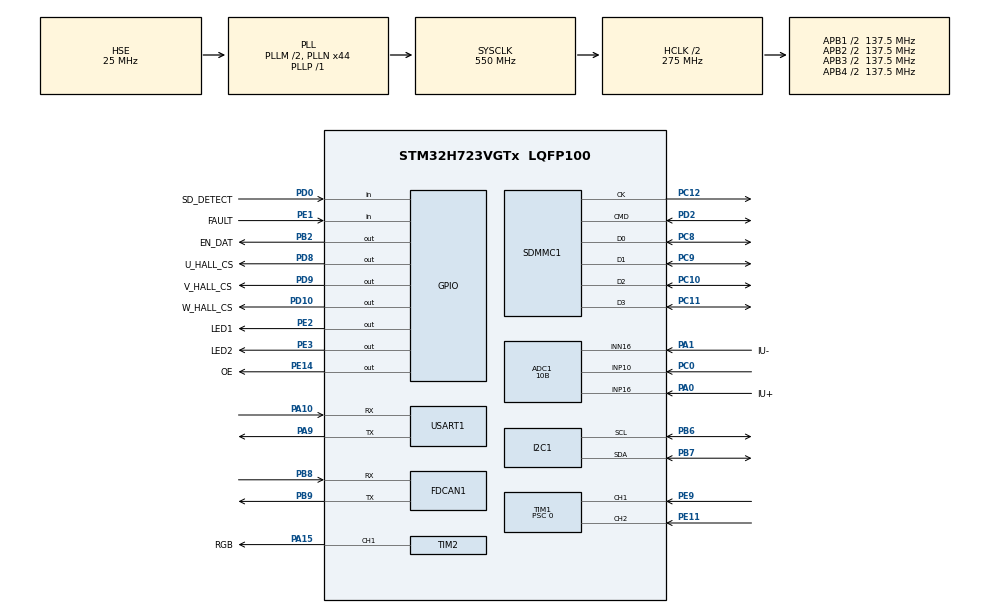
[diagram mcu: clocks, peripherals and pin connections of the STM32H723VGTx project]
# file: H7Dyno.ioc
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ADC1.Channel-7\#ChannelRegularConversion=ADC_CHANNEL_10
ADC1.ClockPrescaler=ADC_CLOCK_ASYNC_DIV32
ADC1.ContinuousConvMode=ENABLE
ADC1.ConversionDataManagement=ADC_CONVERSIONDATA_DMA_CIRCULAR
ADC1.DiscontinuousConvMode=DISABLE
ADC1.EOCSelection=ADC_EOC_SINGLE_CONV
ADC1.EnableInjectedConversion=DISABLE
ADC1.EnableRegularConversion=ENABLE
ADC1.NbrOfConversionFlag=1
ADC1.OffsetNumber-7\#ChannelRegularConversion=ADC_OFFSET_NONE
ADC1.Overrun=ADC_OVR_DATA_OVERWRITTEN
ADC1.OversamplingMode=DISABLE
ADC1.Rank-7\#ChannelRegularConversion=1
ADC1.Ratio=1
ADC1.Resolution=ADC_RESOLUTION_10B
ADC1.SamplingTime-7\#ChannelRegularConversion=ADC_SAMPLETIME_8CYCLES_5
ADC1.master=1
CORTEX_M7.default_mode_Activation=1
Dma.ADC1.1.Direction=DMA_PERIPH_TO_MEMORY
Dma.ADC1.1.EventEnable=DISABLE
Dma.ADC1.1.FIFOMode=DMA_FIFOMODE_DISABLE
Dma.ADC1.1.Instance=DMA2_Stream0
Dma.ADC1.1.MemDataAlignment=DMA_MDATAALIGN_WORD
Dma.ADC1.1.MemInc=DMA_MINC_ENABLE
Dma.ADC1.1.Mode=DMA_CIRCULAR
Dma.ADC1.1.PeriphDataAlignment=DMA_PDATAALIGN_WORD
Dma.ADC1.1.PeriphInc=DMA_PINC_DISABLE
Dma.ADC1.1.Polarity=HAL_DMAMUX_REQ_GEN_RISING
Dma.ADC1.1.Priority=DMA_PRIORITY_HIGH
Dma.ADC1.1.RequestNumber=1
Dma.ADC1.1.SignalID=NONE
Dma.ADC1.1.SyncEnable=DISABLE
Dma.ADC1.1.SyncPolarity=HAL_DMAMUX_SYNC_NO_EVENT
Dma.ADC1.1.SyncRequestNumber=1
Dma.ADC1.1.SyncSignalID=NONE
Dma.Request0=USART1_TX
Dma.Request1=ADC1
Dma.USART1_TX.0.Direction=DMA_MEMORY_TO_PERIPH
Dma.USART1_TX.0.EventEnable=DISABLE
Dma.USART1_TX.0.FIFOMode=DMA_FIFOMODE_DISABLE
Dma.USART1_TX.0.Instance=DMA1_Stream0
Dma.USART1_TX.0.MemDataAlignment=DMA_MDATAALIGN_BYTE
Dma.USART1_TX.0.MemInc=DMA_MINC_ENABLE
Dma.USART1_TX.0.Mode=DMA_NORMAL
Dma.USART1_TX.0.PeriphDataAlignment=DMA_PDATAALIGN_BYTE
Dma.USART1_TX.0.PeriphInc=DMA_PINC_DISABLE
Dma.USART1_TX.0.Polarity=HAL_DMAMUX_REQ_GEN_RISING
Dma.USART1_TX.0.Priority=DMA_PRIORITY_HIGH
Dma.USART1_TX.0.RequestNumber=1
Dma.USART1_TX.0.SignalID=NONE
Dma.USART1_TX.0.SyncEnable=DISABLE
Dma.USART1_TX.0.SyncPolarity=HAL_DMAMUX_SYNC_NO_EVENT
Dma.USART1_TX.0.SyncRequestNumber=1
Dma.USART1_TX.0.SyncSignalID=NONE
FDCAN1.CalculateBaudRateNominal=500000
FDCAN1.CalculateTimeBitNominal=2000
FDCAN1.CalculateTimeQuantumNominal=125.0
FDCAN1.Mode=FDCAN_MODE_NORMAL
FDCAN1.NominalPrescaler=6
FDCAN1.NominalTimeSeg1=13
FDCAN1.NominalTimeSeg2=2
FDCAN1.RxBufferSize=FDCAN_DATA_BYTES_8
FDCAN1.RxBuffersNbr=0
FDCAN1.RxFifo0ElmtSize=FDCAN_DATA_BYTES_8
FDCAN1.RxFifo0ElmtsNbr=31
FDCAN1.RxFifo1ElmtSize=FDCAN_DATA_BYTES_8
FDCAN1.RxFifo1ElmtsNbr=0
FDCAN1.StdFiltersNbr=1
FDCAN1.TxBuffersNbr=31
FDCAN1.TxElmtSize=FDCAN_DATA_BYTES_8
FDCAN1.TxEventsNbr=0
FDCAN1.TxFifoQueueElmtsNbr=1
FDCAN1.TxFifoQueueMode=FDCAN_TX_FIFO_OPERATION
I2C1.Timing=0x60404E72
Mcu.Family=STM32H7
Mcu.Name=STM32H723VGTx
Mcu.Package=LQFP100
NVIC.ADC_IRQn=true\:0\:0\:false\:false\:true\:true\:true\:true
NVIC.DMA1_Stream0_IRQn=true\:0\:0\:false\:false\:true\:true\:true\:true
NVIC.PriorityGroup=NVIC_PRIORITYGROUP_4
NVIC.USART1_IRQn=true\:0\:0\:false\:false\:true\:true\:true\:true
PA0.GPIO_Label=IU+
PA0.Mode=IN16-Differential
PA0.Signal=ADC1_INP16
PA1.GPIO_Label=IU-
PA1.Mode=IN16-Differential
PA1.Signal=ADC1_INN16
PA10.Mode=Asynchronous
PA10.Signal=USART1_RX
PA13(JTMS/SWDIO).Mode=Trace_Asynchronous_SW
PA13(JTMS/SWDIO).Signal=DEBUG_JTMS-SWDIO
PA14(JTCK/SWCLK).Mode=Trace_Asynchronous_SW
PA14(JTCK/SWCLK).Signal=DEBUG_JTCK-SWCLK
PA15(JTDI).GPIO_Label=RGB
PA15(JTDI).Signal=S_TIM2_CH1_ETR
PA9.Mode=Asynchronous
PA9.Signal=USART1_TX
PB13.GPIO_Speed=GPIO_SPEED_FREQ_VERY_HIGH
PB13.Signal=SPI2_SCK
PB14.GPIO_Speed=GPIO_SPEED_FREQ_VERY_HIGH
PB14.Signal=SPI2_MISO
PB2.GPIO_Label=EN_DAT
PB2.Signal=GPIO_Output
PB3(JTDO/TRACESWO).Mode=Trace_Asynchronous_SW
PB3(JTDO/TRACESWO).Signal=DEBUG_JTDO-SWO
PB6.Mode=I2C
PB6.Signal=I2C1_SCL
PB7.Mode=I2C
PB7.Signal=I2C1_SDA
PB8.GPIO_PuPd=GPIO_PULLUP
PB8.Mode=FDCAN_Activate
PB8.Signal=FDCAN1_RX
PB9.Mode=FDCAN_Activate
PB9.Signal=FDCAN1_TX
PC0.Signal=ADCx_INP10
PC10.Mode=SD_4_bits_Wide_bus
PC10.Signal=SDMMC1_D2
PC11.Mode=SD_4_bits_Wide_bus
PC11.Signal=SDMMC1_D3
PC12.Mode=SD_4_bits_Wide_bus
PC12.Signal=SDMMC1_CK
PC8.Mode=SD_4_bits_Wide_bus
PC8.Signal=SDMMC1_D0
PC9.Mode=SD_4_bits_Wide_bus
PC9.Signal=SDMMC1_D1
PD0.GPIO_Label=SD_DETECT
PD0.Signal=GPIO_Input
PD10.GPIO_Label=W_HALL_CS
PD10.PinState=GPIO_PIN_SET
PD10.Signal=GPIO_Output
PD2.Mode=SD_4_bits_Wide_bus
PD2.Signal=SDMMC1_CMD
PD8.GPIO_Label=U_HALL_CS
PD8.PinState=GPIO_PIN_SET
PD8.Signal=GPIO_Output
PD9.GPIO_Label=V_HALL_CS
PD9.PinState=GPIO_PIN_SET
PD9.Signal=GPIO_Output
PE1.GPIO_Label=FAULT
PE1.Signal=GPIO_Input
PE11.Signal=S_TIM1_CH2
PE14.GPIO_Label=OE
PE14.Signal=GPIO_Output
PE2.GPIO_Label=LED1
PE2.Signal=GPIO_Output
PE3.GPIO_Label=LED2
PE3.Signal=GPIO_Output
PE9.Signal=S_TIM1_CH1
PH0-OSC_IN.Mode=HSE-External-Oscillator
PH0-OSC_IN.Signal=RCC_OSC_IN
PH1-OSC_OUT.Mode=HSE-External-Oscillator
PH1-OSC_OUT.Signal=RCC_OSC_OUT
ProjectManager.HeapSize=0x400
ProjectManager.StackSize=0x800
ProjectManager.TargetToolchain=STM32CubeIDE
RCC.ADCCLockSelection=RCC_ADCCLKSOURCE_PLL3
RCC.ADCFreq_Value=150000000
RCC.APB1Freq_Value=137500000
RCC.APB2Freq_Value=137500000
RCC.APB3Freq_Value=137500000
RCC.APB4Freq_Value=137500000
RCC.CodegenConfigPeriph=true
RCC.CortexFreq_Value=550000000
RCC.D1PPRE=RCC_APB3_DIV2
RCC.D2PPRE1=RCC_APB1_DIV2
RCC.D2PPRE2=RCC_APB2_DIV2
RCC.D3PPRE=RCC_APB4_DIV2
RCC.DATA_CACHE_ENABLE=1
RCC.DIVM1=2
RCC.DIVM2=5
RCC.DIVM3=2
RCC.DIVN1=44
RCC.DIVN2=96
RCC.DIVN3=24
RCC.DIVP1=1
RCC.DIVQ1=4
RCC.DIVQ2=10
RCC.DIVR1=1
RCC.DIVR2=1
RCC.FDCANCLockSelection=RCC_FDCANCLKSOURCE_PLL2
RCC.HCLKFreq_Value=275000000
RCC.HPRE=RCC_HCLK_DIV2
RCC.INSTRUCTION_CACHE_ENABLE=1
RCC.LSE_Drive_CapabilityArg=+LSE_Drive_Capability
RCC.PLL2FRACN=0
RCC.PLL3FRACN=0
RCC.PLL3_VCI_Range-AdvancedSettings=RCC_PLL3VCIRANGE_3
RCC.PLL3_VCO_SEL-AdvancedSettings=RCC_PLL3VCOWIDE
RCC.PLLFRACN=0
RCC.PLLSourceVirtual=RCC_PLLSOURCE_HSE
RCC.PREFETCH_ENABLE=0
RCC.SYSCLKFreq_VALUE=550000000
RCC.SYSCLKSource=RCC_SYSCLKSOURCE_PLLCLK
RCC.USBFreq_Value=137500000
SH.ADCx_INP10.0=ADC1_INP10,IN10-Single-Ended
SH.S_TIM1_CH1.0=TIM1_CH1,Input_Capture1_from_TI1
SH.S_TIM1_CH2.0=TIM1_CH2,Input_Capture2_from_TI2
SH.S_TIM2_CH1_ETR.0=TIM2_CH1,PWM Generation1 CH1
TIM1.Channel-Input_Capture1_from_TI1=TIM_CHANNEL_1
TIM1.Channel-Input_Capture2_from_TI2=TIM_CHANNEL_2
TIM1.Prescaler=0
TIM16.Prescaler=275-1
TIM2.Channel-PWM\ Generation1\ CH1=TIM_CHANNEL_1
USART1.VirtualMode-Asynchronous=VM_ASYNC
VP_CORDIC_VS_CORDIC.Mode=CORDIC_Activate
VP_MEMORYMAP_VS_MEMORYMAP.Mode=CurAppReg
VP_TIM16_VS_ClockSourceINT.Mode=Enable_Timer
board=custom

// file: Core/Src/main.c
/* USER CODE BEGIN Header */
/**
  ******************************************************************************
  * @file           : main.c
  * @brief          : Main program body
  ******************************************************************************
  * @attention
  *
  * Copyright (c) 2025 STMicroelectronics.
  * All rights reserved.
  *
  * This software is licensed under terms that can be found in the LICENSE file
  * in the root directory of this software component.
  * If no LICENSE file comes with this software, it is provided AS-IS.
  *
  ******************************************************************************
  */
/* USER CODE END Header */
#include "main.h"

/* USER CODE BEGIN Includes */
#include <string.h>
#include <stdio.h>
#include "adc.h"
#include "main.h"
#include "appMath.h"
#include "math.h"
#include "can.h"
#include "accel.h"
#include "define.h"
#include "inverter.h"

//#include "can.h"
//#include "mtpva.h"
/* USER CODE END Includes */

ADC_HandleTypeDef hadc1;
DMA_HandleTypeDef hdma_adc1;

CORDIC_HandleTypeDef hcordic;

FDCAN_HandleTypeDef hfdcan1;

I2C_HandleTypeDef hi2c1;

SD_HandleTypeDef hsd1;

TIM_HandleTypeDef htim1;
TIM_HandleTypeDef htim2;
TIM_HandleTypeDef htim16;

UART_HandleTypeDef huart1;
DMA_HandleTypeDef hdma_usart1_tx;

/* USER CODE BEGIN PV */
char msg[150] = {};

FDCAN_RxHeaderTypeDef RxHeader;
uint8_t RxData[8];

float cmd = 0.0;
int swp_cnt_r = 0;
int swp_step_r = 0;
int swp_cnt_c = 0;
int swp_step_c = 0;
int swp_state = 0;

float cmdq = 0.0;
float cmdd = 0.0;

int sweep_counter =0;

uint32_t adc_value[10];
inverter_data_t inverters[4];
inverter_cmd_t cmd_0 = {
    .motor              = 3,
    .state              = 0,
    .current_in_limit_p = 20.0f,
    .current_in_limit_n = 20.0f,
    .current_out_limit_d = 20.0f,
    .current_out_limit_q = 20.0f,
    .command            = 0,
};

/* USER CODE END PV */

void SystemClock_Config(void);
static void MPU_Config(void);
static void MX_GPIO_Init(void);
static void MX_DMA_Init(void);
static void MX_ADC1_Init(void);
static void MX_CORDIC_Init(void);
static void MX_FDCAN1_Init(void);
static void MX_I2C1_Init(void);
static void MX_TIM1_Init(void);
static void MX_TIM16_Init(void);
static void MX_USART1_UART_Init(void);
static void MX_TIM2_Init(void);
static void MX_SDMMC1_SD_Init(void);
/* USER CODE BEGIN PFP */
uint8_t FinalData[20] = {'h','\n'};
uint8_t uart_RxData[20];
uint8_t temp[2];
int indx = 0;
/* USER CODE END PFP */

/* USER CODE BEGIN 0 */

float hbk_freq;

void HAL_ADC_ConvCpltCallback(ADC_HandleTypeDef *hadc){
	HAL_GPIO_TogglePin(LED1_GPIO_Port, LED1_Pin);
	HAL_GPIO_TogglePin(LED2_GPIO_Port, LED2_Pin);

}

void HAL_UART_RxCpltCallback(UART_HandleTypeDef *huart)
{
	memcpy(uart_RxData+indx, temp, 1);
	if (++indx >= 20) indx = 0;
	HAL_UART_Receive_IT(&huart1, temp, 1);
}

uint8_t dma_buf[128];
uint8_t vcu_i2d = 0;
uint8_t vcu_d2i = 0;
uint8_t vcu_flt = 0;
uint8_t vcu_rst = 0;
uint8_t vcu_rsth = 0;

/* USER CODE END 0 */

int main(void)
{

  /* MPU Configuration--------------------------------------------------------*/
  MPU_Config();

  /* MCU Configuration--------------------------------------------------------*/

  /* Reset of all peripherals, Initializes the Flash interface and the Systick. */
  HAL_Init();

  /* Configure the system clock */
  SystemClock_Config();

  /* Initialize all configured peripherals */
  MX_GPIO_Init();
  MX_DMA_Init();
  MX_ADC1_Init();
  MX_CORDIC_Init();
  MX_FDCAN1_Init();
  MX_I2C1_Init();
  MX_TIM1_Init();
  MX_TIM16_Init();
  MX_USART1_UART_Init();
  MX_TIM2_Init();
  MX_SDMMC1_SD_Init();
  /* USER CODE BEGIN 2 */
  DISABLE_OUT;
  can_init();

  HAL_TIM_IC_Init(&htim1);
  HAL_TIM_IC_Start(&htim1,TIM_CHANNEL_1);

  HAL_ADC_Start_DMA(&hadc1, adc_value, 10);

  /* USER CODE END 2 */

  /* Infinite loop */
  /* USER CODE BEGIN WHILE */

  HAL_UART_Receive_IT(&huart1, temp, 1);

  while (1)
  {
	if (temp[0] == ']')
	{
		temp[0] = 0;
		cmd_0.state = 0;
		memcpy (FinalData, uart_RxData, indx);
		memset(uart_RxData, 0, sizeof(uart_RxData));
		indx = 0;

		if(strcmp((char*)FinalData,"[flt]")==0){
			HAL_UART_Transmit_DMA(&huart1,(uint8_t*)("\n [flt] \n\n"),10);
			cmd_0.state ^= VCU_STATE_FAULT;
		}
		if(strcmp((char*)FinalData,"[i2d]")==0){
			HAL_UART_Transmit_DMA(&huart1,(uint8_t*)("\n [i2d] \n\n"),10);
			cmd_0.state ^= VCU_STATE_IDLE2DRIVE;
		}
		if(strcmp((char*)FinalData,"[d2i]")==0){
			HAL_UART_Transmit_DMA(&huart1,(uint8_t*)("\n [d2i] \n\n"),10);
			cmd_0.state ^= VCU_STATE_DRIVE2IDLE;
		}
		if(strcmp((char*)FinalData,"[rsth]")==0){
			HAL_UART_Transmit_DMA(&huart1,(uint8_t*)("\n [rsth] \n\n"),11);
			cmd_0.state ^= VCU_STATE_RESET_HARD;
		}
		if(strcmp((char*)FinalData,"[rst]")==0){
			HAL_UART_Transmit_DMA(&huart1,(uint8_t*)("\n [rst] \n\n"),10);
			cmd_0.state ^= VCU_STATE_RESET;
		}
		memset(FinalData, 0, sizeof(FinalData));

	}

	__ASM("nop");
	__ASM("nop");
	__ASM("nop");
	__ASM("nop");
	__ASM("nop");

	cmd = pollRef(adc_value);
	uint32_t tickstart = HAL_GetTick();
	uint32_t wait = 20;

	while ((HAL_GetTick() - tickstart) < wait)
	{
//		can_rx(RxData,&RxHeader);
//		vcu_decode_inverter_can(RxHeader.Identifier, RxData);
		can_process();
		HAL_Delay(1);
	}

//	can_transmit[0] = (uint8_t)v_bus;
//	HAL_Delay(100);
	uint32_t tq =0;
	float diff =0;
	uint32_t tq2 = 0;
	float torque = 0;
	tq = HAL_TIM_ReadCapturedValue(&htim1, TIM_CHANNEL_1);
	tq2 = tq;
	while(tq2 == tq){
		tq2 = HAL_TIM_ReadCapturedValue(&htim1, TIM_CHANNEL_1);
	}
	if (tq > tq2) diff = (float)((0xffff + tq2) -  tq);
	else diff = (float)(tq2-tq);
	float freq = 1/diff*(275000000.0f);

	torque = ((freq-10000.0f)*200.0f/4997.0f);

//	HAL_UART_Transmit_DMA(&huart1, (uint8_t*)FinalData, strlen(FinalData));
	HAL_UART_Transmit_DMA(&huart1, (uint8_t*)msg, strlen(msg));

	HAL_Delay(25);

	uint8_t i_n = 3;

	sprintf(msg, "s: %d,e: %d,f: %d,adc: %lu,cmd: %1.1f, vb: %3.1f, w_e: %5.1f, id:%+2.1f, iq:%+2.1f, vcu: %d, tq: %2.1f\n",
			inverters[i_n].state,
			inverters[i_n].error,
			inverters[i_n].fault,
			adc_value[0],
			(cmd-0.5),
			inverters[i_n].v_bus,
			inverters[i_n].omega_e,
			inverters[i_n].i_d,
			inverters[i_n].i_q,
			cmd_0.state,
			torque
	);

	HAL_Delay(25);

	if(cmd > 0.3 && cmd < 0.7){
		cmd = 0.5;
	}
	else if(cmd <= 0.3) cmd = cmd * 5/3;
	else if(cmd >= 0.7) cmd = ((cmd-0.7) * 5/3)+0.5;

	cmd_0.command = 2*cmd-1;
	vcu_transmit_inverter_can(&cmd_0);

/*

	if(sweep_counter++ > 10){
		sweep_counter = 0;

		if(cmd > 0.5){

			int swp_rows = 10;//starts at 0, goes +- amt
			int swp_cols = 10;//starts at 0, goes + amt
			int swp_mult = 1;

			switch(swp_state){
				case 0://increasing
					swp_step_r++;
					if(swp_step_r > swp_rows) swp_state = 1;
					break;
				case 1://decreasing
					swp_step_r--;
					if(swp_step_r < -swp_rows) swp_state = 2;
					break;
				case 2://increasing again
					swp_step_r++;
					if(swp_step_r > 0){
						swp_state = 0;
						swp_step_c ++;
						swp_step_r = 0;
						if(swp_step_c > swp_cols){
							swp_step_c = 0;
							swp_state = 3;
						}
					}
					break;
				case 3://increasing
					swp_step_r++;
					if(swp_step_r > swp_rows) swp_state = 4;
					break;
				case 4://decreasing
					swp_step_r--;
					if(swp_step_r < -swp_rows) swp_state = 5;
					break;
				case 5://increasing again
					swp_step_r++;
					if(swp_step_r > 0){
						swp_state = 3;
						swp_step_c--;
						swp_step_r = 0;
						if(swp_step_c < -swp_cols){
							swp_step_c = 0;
							swp_state = 0;
						}
					}
					break;
			}

			cmdq = swp_step_c*swp_mult;
			cmdd = swp_step_r*swp_mult;
		}
		else{
			cmdq = 0;
			cmdd = 0;
		}
	}

//	cmdq = 45;
//	cmdd = 0;

//    can_transmit[0] = (float2can((cmdd), 200, 100)>>8) & 0xFF;
//    can_transmit[1] = (float2can((cmdd), 200, 100)>>0) & 0xFF;
//    can_transmit[2] = (float2can((cmdd), 200, 100)>>8) & 0xFF;
//    can_transmit[3] = (float2can((cmdd), 200, 100)>>0) & 0xFF;
//    can_transmit[4] = 0; //
//    can_transmit[5] = 0; //
//    can_transmit[6] = 0; //
//    can_transmit[7] = 0; //

//    can_tx(can_transmit,0x12);
*/
	HAL_GPIO_WritePin(LED2_GPIO_Port, LED2_Pin, 1);
    /* USER CODE END WHILE */

  }
}

void SystemClock_Config(void)
{
  RCC_OscInitTypeDef RCC_OscInitStruct = {0};
  RCC_ClkInitTypeDef RCC_ClkInitStruct = {0};

  /** Supply configuration update enable
  */
  HAL_PWREx_ConfigSupply(PWR_LDO_SUPPLY);

  /** Configure the main internal regulator output voltage
  */
  __HAL_PWR_VOLTAGESCALING_CONFIG(PWR_REGULATOR_VOLTAGE_SCALE0);

  while(!__HAL_PWR_GET_FLAG(PWR_FLAG_VOSRDY)) {}

  /** Initializes the RCC Oscillators according to the specified parameters
  * in the RCC_OscInitTypeDef structure.
  */
  RCC_OscInitStruct.OscillatorType = RCC_OSCILLATORTYPE_HSE;
  RCC_OscInitStruct.HSEState = RCC_HSE_ON;
  RCC_OscInitStruct.PLL.PLLState = RCC_PLL_ON;
  RCC_OscInitStruct.PLL.PLLSource = RCC_PLLSOURCE_HSE;
  RCC_OscInitStruct.PLL.PLLM = 2;
  RCC_OscInitStruct.PLL.PLLN = 44;
  RCC_OscInitStruct.PLL.PLLP = 1;
  RCC_OscInitStruct.PLL.PLLQ = 4;
  RCC_OscInitStruct.PLL.PLLR = 1;
  RCC_OscInitStruct.PLL.PLLRGE = RCC_PLL1VCIRANGE_3;
  RCC_OscInitStruct.PLL.PLLVCOSEL = RCC_PLL1VCOWIDE;
  RCC_OscInitStruct.PLL.PLLFRACN = 0;
  if (HAL_RCC_OscConfig(&RCC_OscInitStruct) != HAL_OK)
  {
    Error_Handler();
  }

  /** Initializes the CPU, AHB and APB buses clocks
  */
  RCC_ClkInitStruct.ClockType = RCC_CLOCKTYPE_HCLK|RCC_CLOCKTYPE_SYSCLK
                              |RCC_CLOCKTYPE_PCLK1|RCC_CLOCKTYPE_PCLK2
                              |RCC_CLOCKTYPE_D3PCLK1|RCC_CLOCKTYPE_D1PCLK1;
  RCC_ClkInitStruct.SYSCLKSource = RCC_SYSCLKSOURCE_PLLCLK;
  RCC_ClkInitStruct.SYSCLKDivider = RCC_SYSCLK_DIV1;
  RCC_ClkInitStruct.AHBCLKDivider = RCC_HCLK_DIV2;
  RCC_ClkInitStruct.APB3CLKDivider = RCC_APB3_DIV2;
  RCC_ClkInitStruct.APB1CLKDivider = RCC_APB1_DIV2;
  RCC_ClkInitStruct.APB2CLKDivider = RCC_APB2_DIV2;
  RCC_ClkInitStruct.APB4CLKDivider = RCC_APB4_DIV2;

  if (HAL_RCC_ClockConfig(&RCC_ClkInitStruct, FLASH_LATENCY_3) != HAL_OK)
  {
    Error_Handler();
  }
}

static void MX_ADC1_Init(void)
{

  ADC_MultiModeTypeDef multimode = {0};
  ADC_ChannelConfTypeDef sConfig = {0};

  /** Common config
  */
  hadc1.Instance = ADC1;
  hadc1.Init.ClockPrescaler = ADC_CLOCK_ASYNC_DIV32;
  hadc1.Init.Resolution = ADC_RESOLUTION_10B;
  hadc1.Init.ScanConvMode = ADC_SCAN_DISABLE;
  hadc1.Init.EOCSelection = ADC_EOC_SINGLE_CONV;
  hadc1.Init.LowPowerAutoWait = DISABLE;
  hadc1.Init.ContinuousConvMode = ENABLE;
  hadc1.Init.NbrOfConversion = 1;
  hadc1.Init.DiscontinuousConvMode = DISABLE;
  hadc1.Init.ExternalTrigConv = ADC_SOFTWARE_START;
  hadc1.Init.ExternalTrigConvEdge = ADC_EXTERNALTRIGCONVEDGE_NONE;
  hadc1.Init.ConversionDataManagement = ADC_CONVERSIONDATA_DMA_CIRCULAR;
  hadc1.Init.Overrun = ADC_OVR_DATA_OVERWRITTEN;
  hadc1.Init.LeftBitShift = ADC_LEFTBITSHIFT_NONE;
  hadc1.Init.OversamplingMode = DISABLE;
  hadc1.Init.Oversampling.Ratio = 1;
  if (HAL_ADC_Init(&hadc1) != HAL_OK)
  {
    Error_Handler();
  }

  /** Configure the ADC multi-mode
  */
  multimode.Mode = ADC_MODE_INDEPENDENT;
  if (HAL_ADCEx_MultiModeConfigChannel(&hadc1, &multimode) != HAL_OK)
  {
    Error_Handler();
  }

  /** Configure Regular Channel
  */
  sConfig.Channel = ADC_CHANNEL_10;
  sConfig.Rank = ADC_REGULAR_RANK_1;
  sConfig.SamplingTime = ADC_SAMPLETIME_8CYCLES_5;
  sConfig.SingleDiff = ADC_SINGLE_ENDED;
  sConfig.OffsetNumber = ADC_OFFSET_NONE;
  sConfig.Offset = 0;
  if (HAL_ADC_ConfigChannel(&hadc1, &sConfig) != HAL_OK)
  {
    Error_Handler();
  }

}

static void MX_CORDIC_Init(void)
{

  hcordic.Instance = CORDIC;
  if (HAL_CORDIC_Init(&hcordic) != HAL_OK)
  {
    Error_Handler();
  }

}

static void MX_FDCAN1_Init(void)
{

  hfdcan1.Instance = FDCAN1;
  hfdcan1.Init.FrameFormat = FDCAN_FRAME_CLASSIC;
  hfdcan1.Init.Mode = FDCAN_MODE_NORMAL;
  hfdcan1.Init.AutoRetransmission = DISABLE;
  hfdcan1.Init.TransmitPause = DISABLE;
  hfdcan1.Init.ProtocolException = DISABLE;
  hfdcan1.Init.NominalPrescaler = 6;
  hfdcan1.Init.NominalSyncJumpWidth = 1;
  hfdcan1.Init.NominalTimeSeg1 = 13;
  hfdcan1.Init.NominalTimeSeg2 = 2;
  hfdcan1.Init.DataPrescaler = 1;
  hfdcan1.Init.DataSyncJumpWidth = 1;
  hfdcan1.Init.DataTimeSeg1 = 1;
  hfdcan1.Init.DataTimeSeg2 = 1;
  hfdcan1.Init.MessageRAMOffset = 0;
  hfdcan1.Init.StdFiltersNbr = 1;
  hfdcan1.Init.ExtFiltersNbr = 0;
  hfdcan1.Init.RxFifo0ElmtsNbr = 31;
  hfdcan1.Init.RxFifo0ElmtSize = FDCAN_DATA_BYTES_8;
  hfdcan1.Init.RxFifo1ElmtsNbr = 0;
  hfdcan1.Init.RxFifo1ElmtSize = FDCAN_DATA_BYTES_8;
  hfdcan1.Init.RxBuffersNbr = 0;
  hfdcan1.Init.RxBufferSize = FDCAN_DATA_BYTES_8;
  hfdcan1.Init.TxEventsNbr = 0;
  hfdcan1.Init.TxBuffersNbr = 31;
  hfdcan1.Init.TxFifoQueueElmtsNbr = 1;
  hfdcan1.Init.TxFifoQueueMode = FDCAN_TX_FIFO_OPERATION;
  hfdcan1.Init.TxElmtSize = FDCAN_DATA_BYTES_8;
  if (HAL_FDCAN_Init(&hfdcan1) != HAL_OK)
  {
    Error_Handler();
  }

}

static void MX_I2C1_Init(void)
{

  hi2c1.Instance = I2C1;
  hi2c1.Init.Timing = 0x60404E72;
  hi2c1.Init.OwnAddress1 = 0;
  hi2c1.Init.AddressingMode = I2C_ADDRESSINGMODE_7BIT;
  hi2c1.Init.DualAddressMode = I2C_DUALADDRESS_DISABLE;
  hi2c1.Init.OwnAddress2 = 0;
  hi2c1.Init.OwnAddress2Masks = I2C_OA2_NOMASK;
  hi2c1.Init.GeneralCallMode = I2C_GENERALCALL_DISABLE;
  hi2c1.Init.NoStretchMode = I2C_NOSTRETCH_DISABLE;
  if (HAL_I2C_Init(&hi2c1) != HAL_OK)
  {
    Error_Handler();
  }

  /** Configure Analogue filter
  */
  if (HAL_I2CEx_ConfigAnalogFilter(&hi2c1, I2C_ANALOGFILTER_ENABLE) != HAL_OK)
  {
    Error_Handler();
  }

  /** Configure Digital filter
  */
  if (HAL_I2CEx_ConfigDigitalFilter(&hi2c1, 0) != HAL_OK)
  {
    Error_Handler();
  }

}

static void MX_SDMMC1_SD_Init(void)
{

  hsd1.Instance = SDMMC1;
  hsd1.Init.ClockEdge = SDMMC_CLOCK_EDGE_RISING;
  hsd1.Init.ClockPowerSave = SDMMC_CLOCK_POWER_SAVE_DISABLE;
  hsd1.Init.BusWide = SDMMC_BUS_WIDE_4B;
  hsd1.Init.HardwareFlowControl = SDMMC_HARDWARE_FLOW_CONTROL_DISABLE;
  hsd1.Init.ClockDiv = 0;
  if (HAL_SD_Init(&hsd1) != HAL_OK)
  {
    Error_Handler();
  }

}

static void MX_TIM1_Init(void)
{

  TIM_MasterConfigTypeDef sMasterConfig = {0};
  TIM_IC_InitTypeDef sConfigIC = {0};

  htim1.Instance = TIM1;
  htim1.Init.Prescaler = 0;
  htim1.Init.CounterMode = TIM_COUNTERMODE_UP;
  htim1.Init.Period = 65535;
  htim1.Init.ClockDivision = TIM_CLOCKDIVISION_DIV1;
  htim1.Init.RepetitionCounter = 0;
  htim1.Init.AutoReloadPreload = TIM_AUTORELOAD_PRELOAD_DISABLE;
  if (HAL_TIM_IC_Init(&htim1) != HAL_OK)
  {
    Error_Handler();
  }
  sMasterConfig.MasterOutputTrigger = TIM_TRGO_RESET;
  sMasterConfig.MasterOutputTrigger2 = TIM_TRGO2_RESET;
  sMasterConfig.MasterSlaveMode = TIM_MASTERSLAVEMODE_DISABLE;
  if (HAL_TIMEx_MasterConfigSynchronization(&htim1, &sMasterConfig) != HAL_OK)
  {
    Error_Handler();
  }
  sConfigIC.ICPolarity = TIM_INPUTCHANNELPOLARITY_RISING;
  sConfigIC.ICSelection = TIM_ICSELECTION_DIRECTTI;
  sConfigIC.ICPrescaler = TIM_ICPSC_DIV1;
  sConfigIC.ICFilter = 0;
  if (HAL_TIM_IC_ConfigChannel(&htim1, &sConfigIC, TIM_CHANNEL_1) != HAL_OK)
  {
    Error_Handler();
  }
  if (HAL_TIM_IC_ConfigChannel(&htim1, &sConfigIC, TIM_CHANNEL_2) != HAL_OK)
  {
    Error_Handler();
  }

}

static void MX_TIM2_Init(void)
{

  TIM_MasterConfigTypeDef sMasterConfig = {0};
  TIM_OC_InitTypeDef sConfigOC = {0};

  htim2.Instance = TIM2;
  htim2.Init.Prescaler = 0;
  htim2.Init.CounterMode = TIM_COUNTERMODE_UP;
  htim2.Init.Period = 4294967295;
  htim2.Init.ClockDivision = TIM_CLOCKDIVISION_DIV1;
  htim2.Init.AutoReloadPreload = TIM_AUTORELOAD_PRELOAD_DISABLE;
  if (HAL_TIM_PWM_Init(&htim2) != HAL_OK)
  {
    Error_Handler();
  }
  sMasterConfig.MasterOutputTrigger = TIM_TRGO_RESET;
  sMasterConfig.MasterSlaveMode = TIM_MASTERSLAVEMODE_DISABLE;
  if (HAL_TIMEx_MasterConfigSynchronization(&htim2, &sMasterConfig) != HAL_OK)
  {
    Error_Handler();
  }
  sConfigOC.OCMode = TIM_OCMODE_PWM1;
  sConfigOC.Pulse = 0;
  sConfigOC.OCPolarity = TIM_OCPOLARITY_HIGH;
  sConfigOC.OCFastMode = TIM_OCFAST_DISABLE;
  if (HAL_TIM_PWM_ConfigChannel(&htim2, &sConfigOC, TIM_CHANNEL_1) != HAL_OK)
  {
    Error_Handler();
  }
  HAL_TIM_MspPostInit(&htim2);

}

static void MX_TIM16_Init(void)
{

  htim16.Instance = TIM16;
  htim16.Init.Prescaler = 275-1;
  htim16.Init.CounterMode = TIM_COUNTERMODE_UP;
  htim16.Init.Period = 65535;
  htim16.Init.ClockDivision = TIM_CLOCKDIVISION_DIV1;
  htim16.Init.RepetitionCounter = 0;
  htim16.Init.AutoReloadPreload = TIM_AUTORELOAD_PRELOAD_DISABLE;
  if (HAL_TIM_Base_Init(&htim16) != HAL_OK)
  {
    Error_Handler();
  }

}

static void MX_USART1_UART_Init(void)
{

  huart1.Instance = USART1;
  huart1.Init.BaudRate = 115200;
  huart1.Init.WordLength = UART_WORDLENGTH_8B;
  huart1.Init.StopBits = UART_STOPBITS_1;
  huart1.Init.Parity = UART_PARITY_NONE;
  huart1.Init.Mode = UART_MODE_TX_RX;
  huart1.Init.HwFlowCtl = UART_HWCONTROL_NONE;
  huart1.Init.OverSampling = UART_OVERSAMPLING_16;
  huart1.Init.OneBitSampling = UART_ONE_BIT_SAMPLE_DISABLE;
  huart1.Init.ClockPrescaler = UART_PRESCALER_DIV1;
  huart1.AdvancedInit.AdvFeatureInit = UART_ADVFEATURE_NO_INIT;
  if (HAL_UART_Init(&huart1) != HAL_OK)
  {
    Error_Handler();
  }
  if (HAL_UARTEx_SetTxFifoThreshold(&huart1, UART_TXFIFO_THRESHOLD_1_8) != HAL_OK)
  {
    Error_Handler();
  }
  if (HAL_UARTEx_SetRxFifoThreshold(&huart1, UART_RXFIFO_THRESHOLD_1_8) != HAL_OK)
  {
    Error_Handler();
  }
  if (HAL_UARTEx_DisableFifoMode(&huart1) != HAL_OK)
  {
    Error_Handler();
  }

}

static void MX_DMA_Init(void)
{

  /* DMA controller clock enable */
  __HAL_RCC_DMA1_CLK_ENABLE();
  __HAL_RCC_DMA2_CLK_ENABLE();

  /* DMA interrupt init */
  /* DMA1_Stream0_IRQn interrupt configuration */
  HAL_NVIC_SetPriority(DMA1_Stream0_IRQn, 0, 0);
  HAL_NVIC_EnableIRQ(DMA1_Stream0_IRQn);

}

static void MX_GPIO_Init(void)
{
  GPIO_InitTypeDef GPIO_InitStruct = {0};

  /* GPIO Ports Clock Enable */
  __HAL_RCC_GPIOE_CLK_ENABLE();
  __HAL_RCC_GPIOH_CLK_ENABLE();
  __HAL_RCC_GPIOC_CLK_ENABLE();
  __HAL_RCC_GPIOA_CLK_ENABLE();
  __HAL_RCC_GPIOB_CLK_ENABLE();
  __HAL_RCC_GPIOD_CLK_ENABLE();

  /*Configure GPIO pin Output Level */
  HAL_GPIO_WritePin(GPIOE, LED1_Pin|LED2_Pin|OE_Pin, GPIO_PIN_RESET);

  /*Configure GPIO pin Output Level */
  HAL_GPIO_WritePin(EN_DAT_GPIO_Port, EN_DAT_Pin, GPIO_PIN_RESET);

  /*Configure GPIO pin Output Level */
  HAL_GPIO_WritePin(GPIOD, U_HALL_CS_Pin|V_HALL_CS_Pin|W_HALL_CS_Pin, GPIO_PIN_SET);

  /*Configure GPIO pins : LED1_Pin LED2_Pin OE_Pin */
  GPIO_InitStruct.Pin = LED1_Pin|LED2_Pin|OE_Pin;
  GPIO_InitStruct.Mode = GPIO_MODE_OUTPUT_PP;
  GPIO_InitStruct.Pull = GPIO_NOPULL;
  GPIO_InitStruct.Speed = GPIO_SPEED_FREQ_LOW;
  HAL_GPIO_Init(GPIOE, &GPIO_InitStruct);

  /*Configure GPIO pin : EN_DAT_Pin */
  GPIO_InitStruct.Pin = EN_DAT_Pin;
  GPIO_InitStruct.Mode = GPIO_MODE_OUTPUT_PP;
  GPIO_InitStruct.Pull = GPIO_NOPULL;
  GPIO_InitStruct.Speed = GPIO_SPEED_FREQ_LOW;
  HAL_GPIO_Init(EN_DAT_GPIO_Port, &GPIO_InitStruct);

  /*Configure GPIO pins : PB13 PB14 */
  GPIO_InitStruct.Pin = GPIO_PIN_13|GPIO_PIN_14;
  GPIO_InitStruct.Mode = GPIO_MODE_AF_PP;
  GPIO_InitStruct.Pull = GPIO_NOPULL;
  GPIO_InitStruct.Speed = GPIO_SPEED_FREQ_VERY_HIGH;
  GPIO_InitStruct.Alternate = GPIO_AF5_SPI2;
  HAL_GPIO_Init(GPIOB, &GPIO_InitStruct);

  /*Configure GPIO pins : U_HALL_CS_Pin V_HALL_CS_Pin W_HALL_CS_Pin */
  GPIO_InitStruct.Pin = U_HALL_CS_Pin|V_HALL_CS_Pin|W_HALL_CS_Pin;
  GPIO_InitStruct.Mode = GPIO_MODE_OUTPUT_PP;
  GPIO_InitStruct.Pull = GPIO_NOPULL;
  GPIO_InitStruct.Speed = GPIO_SPEED_FREQ_LOW;
  HAL_GPIO_Init(GPIOD, &GPIO_InitStruct);

  /*Configure GPIO pin : SD_DETECT_Pin */
  GPIO_InitStruct.Pin = SD_DETECT_Pin;
  GPIO_InitStruct.Mode = GPIO_MODE_INPUT;
  GPIO_InitStruct.Pull = GPIO_NOPULL;
  HAL_GPIO_Init(SD_DETECT_GPIO_Port, &GPIO_InitStruct);

  /*Configure GPIO pin : FAULT_Pin */
  GPIO_InitStruct.Pin = FAULT_Pin;
  GPIO_InitStruct.Mode = GPIO_MODE_INPUT;
  GPIO_InitStruct.Pull = GPIO_NOPULL;
  HAL_GPIO_Init(FAULT_GPIO_Port, &GPIO_InitStruct);

}

 /* MPU Configuration */

void MPU_Config(void)
{
  MPU_Region_InitTypeDef MPU_InitStruct = {0};

  /* Disables the MPU */
  HAL_MPU_Disable();

  /** Initializes and configures the Region and the memory to be protected
  */
  MPU_InitStruct.Enable = MPU_REGION_ENABLE;
  MPU_InitStruct.Number = MPU_REGION_NUMBER0;
  MPU_InitStruct.BaseAddress = 0x0;
  MPU_InitStruct.Size = MPU_REGION_SIZE_4GB;
  MPU_InitStruct.SubRegionDisable = 0x87;
  MPU_InitStruct.TypeExtField = MPU_TEX_LEVEL0;
  MPU_InitStruct.AccessPermission = MPU_REGION_NO_ACCESS;
  MPU_InitStruct.DisableExec = MPU_INSTRUCTION_ACCESS_DISABLE;
  MPU_InitStruct.IsShareable = MPU_ACCESS_SHAREABLE;
  MPU_InitStruct.IsCacheable = MPU_ACCESS_NOT_CACHEABLE;
  MPU_InitStruct.IsBufferable = MPU_ACCESS_NOT_BUFFERABLE;

  HAL_MPU_ConfigRegion(&MPU_InitStruct);
  /* Enables the MPU */
  HAL_MPU_Enable(MPU_PRIVILEGED_DEFAULT);

}

void Error_Handler(void)
{
  /* USER CODE BEGIN Error_Handler_Debug */
	GPIOE->BSRR = (uint32_t)(GPIO_PIN_14 << 16);
	LED1_GPIO_Port->BSRR = (uint32_t)(LED1_Pin);
	LED2_GPIO_Port->BSRR = (uint32_t)(LED2_Pin);

  /* User can add his own implementation to report the HAL error return state */
  __disable_irq();
  while (1)
  {
  }
  /* USER CODE END Error_Handler_Debug */
}
